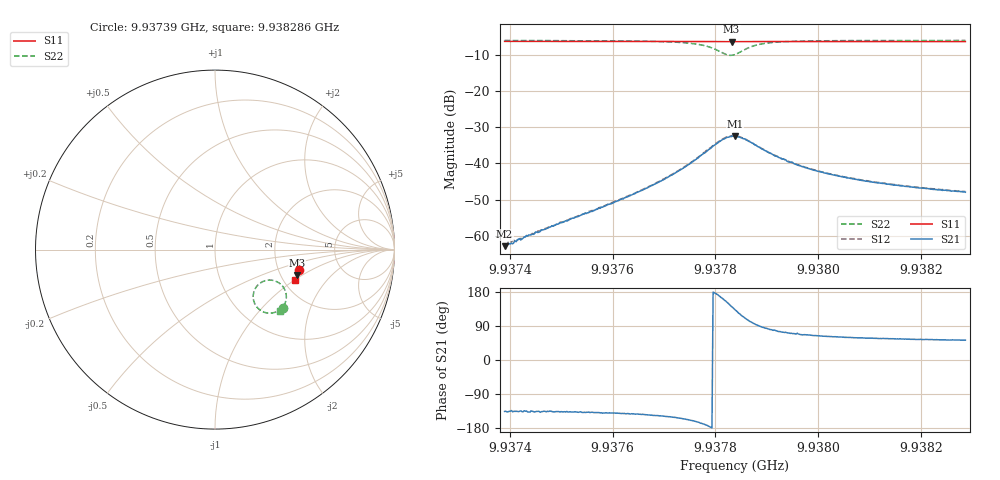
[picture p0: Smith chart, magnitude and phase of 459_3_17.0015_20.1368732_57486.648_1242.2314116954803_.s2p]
#  HZ  S  RI  R  50.00
! Rohde & Schwarz Vector Network Analyzer
! Rohde-Schwarz,ZNB20-2Port,1311601062101988,3.16
! Created: UTC 3/20/2024, 11:12:42 PM
! freq[Hz]  re:S11  im:S11  re:S21  im:S21  re:S12  im:S12  re:S22  im:S22
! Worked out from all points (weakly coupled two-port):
!   401 points, 9.93739 GHz to 9.938286 GHz, reference 50 ohm
!   highest |S21| = -32.47 dB at 9.937838 GHz (marker M1); lowest = -62.9 dB at 9.93739 GHz (marker M2)
!   lowest |S11| = -6.4 dB at 9.9378313 GHz (marker M3), VSWR 2.83, Z = 122 - j45 ohm
!   |S11| at or under -10 dB: nowhere
!   |S22| runs from -10.2 to -6.1 dB; largest |S21 - S12| = 0.00098
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9.93739001e9  0.4696 -0.1145  -0.000516 -0.000502  -0.000512 -0.000533  0.3782 -0.3227
9.93740345e9  0.4691 -0.1153  -0.000543 -0.000572  -0.000605 -0.000568  0.3773 -0.3239
9.93743257e9  0.4685 -0.1173  -0.000703 -0.000719  -0.000728 -0.000702  0.3747 -0.3262
9.93754009e9  0.4661 -0.1246  -0.00145 -0.0013  -0.00146 -0.00132  0.3629 -0.3351
9.93762522e9  0.4642 -0.1301  -0.00266 -0.00208  -0.00273 -0.00208  0.3482 -0.3438
9.93769018e9  0.4625 -0.1345  -0.00467 -0.003  -0.00477 -0.00298  0.3278 -0.3514
9.93773946e9  0.4609 -0.138  -0.00802 -0.00365  -0.00823 -0.00355  0.2979 -0.3539
9.93777978e9  0.4594 -0.1406  -0.0138 -0.0023  -0.0142 -0.00217  0.2512 -0.3368
9.93779546e9  0.4583 -0.1415  -0.0173 0.000229  -0.0176 0.000541  0.2279 -0.3126
9.93781114e9  0.4575 -0.142  -0.02 0.00547  -0.0203 0.00587  0.2129 -0.2685
9.93782234e9  0.4572 -0.1421  -0.0202 0.0106  -0.0203 0.0113  0.2195 -0.2273
9.9378313e9  0.4569 -0.1419  -0.0182 0.0148  -0.0184 0.0156  0.2395 -0.1969
9.93783802e9  0.457 -0.1421  -0.0162 0.0175  -0.0157 0.0182  0.2619 -0.1804
9.93785146e9  0.4573 -0.1425  -0.00993 0.02  -0.00959 0.0205  0.3116 -0.1701
9.9378649e9  0.4575 -0.1431  -0.00479 0.0195  -0.00439 0.0199  0.3514 -0.1824
9.93789178e9  0.4576 -0.1453  0.00104 0.0156  0.00127 0.0158  0.3886 -0.2231
9.93792986e9  0.4572 -0.1483  0.00321 0.011  0.00327 0.0109  0.3974 -0.2638
9.93795898e9  0.4566 -0.1505  0.00316 0.009  0.00371 0.00886  0.3954 -0.2826
9.9379881e9  0.4559 -0.1524  0.00348 0.00744  0.00366 0.00745  0.3918 -0.295
9.93805754e9  0.454 -0.1572  0.00318 0.00541  0.00333 0.00544  0.3834 -0.3134
9.93813819e9  0.452 -0.1623  0.00287 0.00427  0.00296 0.00425  0.3748 -0.3256
9.93828603e9  0.4478 -0.1719  0.00244 0.00317  0.00255 0.00319  0.3627 -0.3401
